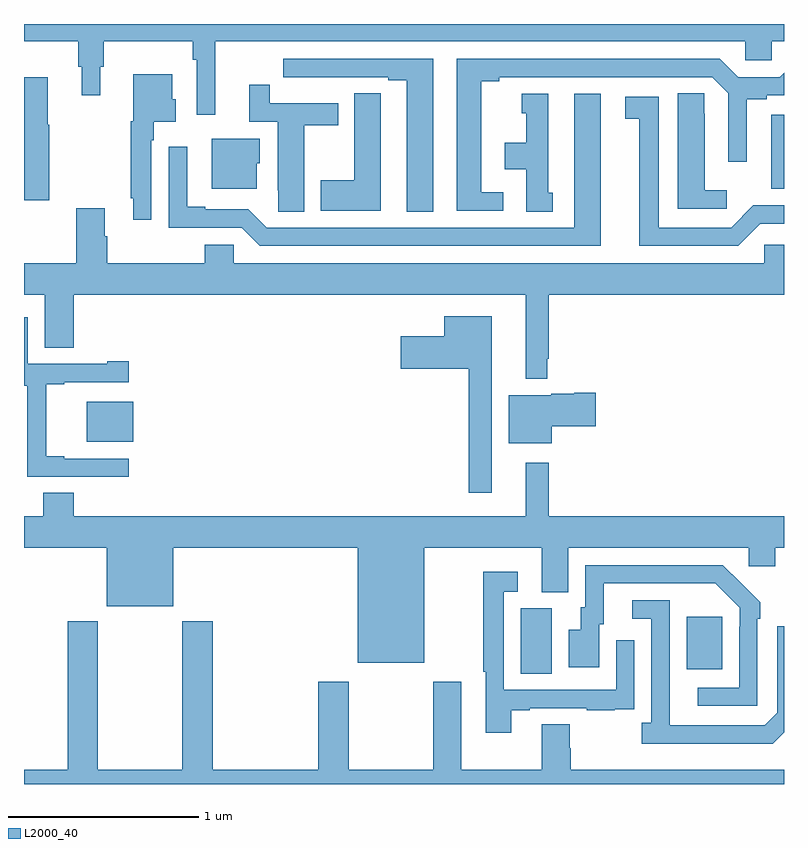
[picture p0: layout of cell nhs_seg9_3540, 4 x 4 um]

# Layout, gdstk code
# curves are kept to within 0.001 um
import gdstk
lib = gdstk.Library(unit=1e-6, precision=1e-09)
def R(c, l, rs):  # rectangles x0, y0, x1, y1
    for r in rs: c.add(gdstk.rectangle(r[:2], r[2:], *l))
def P(c, l, *ps):  # polygons
    for p in ps: c.add(gdstk.Polygon(p, *l))
L2000_40 = (2000, 40)

nhs_seg9_3540 = lib.new_cell('nhs_seg9_3540')
R(nhs_seg9_3540, L2000_40, [(315.614,1205.08,315.778,1205.424), (316.487,1205.105,316.675,1205.38), (313.331,1206.302,313.576,1206.511), (316.934,1207.634,317,1208.023)])
P(nhs_seg9_3540, L2000_40, [(314.006,1208.408),(316.797,1208.408),(316.797,1208.31),(316.935,1208.31),(316.935,1208.408),(317,1208.408),(317,1208.5),(313,1208.5),(313,1208.408),(313.285,1208.408),(313.285,1208.274),(313.304,1208.274),(313.304,1208.124),(313.402,1208.124),(313.402,1208.274),(313.421,1208.274),(313.421,1208.408),(313.888,1208.408),(313.888,1208.312),(313.908,1208.312),(313.908,1208.022),(314.006,1208.022)],
  [(315.523,1207.614),(315.406,1207.614),(315.406,1208.2),(315.502,1208.2),(315.502,1208.22),(316.623,1208.22),(316.707,1208.136),(316.707,1207.776),(316.804,1207.776),(316.804,1208.104),(316.908,1208.104),(316.908,1208.124),(317,1208.124),(317,1208.243),(316.977,1208.22),(316.759,1208.22),(316.663,1208.316),(315.278,1208.316),(315.278,1207.518),(315.523,1207.518)],
  [(315.154,1208.316),(314.364,1208.316),(314.364,1208.22),(314.476,1208.22),(314.476,1208.219),(314.642,1208.219),(314.642,1208.22),(314.918,1208.22),(314.918,1208.205),(315.014,1208.205),(315.014,1207.513),(315.154,1207.513)],
  [(313.671,1207.889),(313.684,1207.889),(313.684,1207.985),(313.798,1207.985),(313.798,1208.103),(313.78,1208.103),(313.78,1208.236),(313.574,1208.236),(313.574,1207.989),(313.563,1207.989),(313.563,1207.582),(313.574,1207.582),(313.574,1207.47),(313.671,1207.47)],
  [(313.134,1207.969),(313.126,1207.969),(313.126,1208.221),(313,1208.221),(313,1207.572),(313.134,1207.572)],
  [(314.476,1207.966),(314.653,1207.966),(314.653,1208.082),(314.294,1208.082),(314.294,1208.179),(314.186,1208.179),(314.186,1207.986),(314.336,1207.986),(314.336,1207.624),(314.337,1207.624),(314.337,1207.513),(314.476,1207.513)],
  [(316.699,1207.624),(316.582,1207.624),(316.582,1208.027),(316.581,1208.027),(316.581,1208.135),(316.442,1208.135),(316.442,1207.527),(316.699,1207.527)],
  [(314.878,1208.027),(314.877,1208.027),(314.877,1208.135),(314.738,1208.135),(314.738,1207.677),(314.561,1207.677),(314.561,1207.517),(314.878,1207.517)],
  [(316.036,1208.134),(315.896,1208.134),(315.896,1207.428),(314.277,1207.428),(314.181,1207.524),(313.954,1207.524),(313.954,1207.537),(313.858,1207.537),(313.858,1207.855),(313.761,1207.855),(313.761,1207.428),(314.145,1207.428),(314.241,1207.332),(316.036,1207.332)],
  [(315.784,1207.611),(315.76,1207.611),(315.76,1208.134),(315.62,1208.134),(315.62,1208.031),(315.644,1208.031),(315.644,1207.876),(315.53,1207.876),(315.53,1207.736),(315.644,1207.736),(315.644,1207.513),(315.784,1207.513)],
  [(316.875,1207.449),(317,1207.449),(317,1207.545),(316.839,1207.545),(316.722,1207.428),(316.342,1207.428),(316.342,1208.118),(316.164,1208.118),(316.164,1208.002),(316.238,1208.002),(316.238,1207.332),(316.758,1207.332)],
  [(314.224,1207.767),(314.242,1207.767),(314.242,1207.897),(313.988,1207.897),(313.988,1207.634),(314.224,1207.634)],
  [(315.755,1206.739),(315.763,1206.739),(315.763,1207.076),(317,1207.076),(317,1207.338),(316.896,1207.338),(316.896,1207.24),(314.103,1207.24),(314.103,1207.338),(313.952,1207.338),(313.952,1207.24),(313.439,1207.24),(313.439,1207.382),(313.426,1207.382),(313.426,1207.531),(313.274,1207.531),(313.274,1207.24),(313,1207.24),(313,1207.076),(313.109,1207.076),(313.109,1206.796),(313.262,1206.796),(313.262,1207.076),(315.641,1207.076),(315.641,1206.632),(315.755,1206.632)],
  [(315.463,1206.961),(315.212,1206.961),(315.212,1206.856),(314.982,1206.856),(314.982,1206.686),(315.342,1206.686),(315.342,1206.033),(315.463,1206.033)],
  [(313.552,1206.213),(313.213,1206.213),(313.213,1206.226),(313.118,1206.226),(313.118,1206.603),(313.213,1206.603),(313.213,1206.615),(313.552,1206.615),(313.552,1206.724),(313.439,1206.724),(313.439,1206.711),(313.02,1206.711),(313.02,1206.957),(313,1206.957),(313,1206.595),(313.018,1206.595),(313.018,1206.117),(313.552,1206.117)],
  [(315.778,1206.382),(316.009,1206.382),(316.009,1206.56),(315.896,1206.56),(315.896,1206.553),(315.774,1206.553),(315.774,1206.547),(315.551,1206.547),(315.551,1206.293),(315.778,1206.293)],
  [(315.106,1205.744),(315.725,1205.744),(315.725,1205.509),(315.865,1205.509),(315.865,1205.744),(316.815,1205.744),(316.815,1205.646),(316.954,1205.646),(316.954,1205.744),(317,1205.744),(317,1205.908),(315.763,1205.908),(315.763,1206.19),(315.641,1206.19),(315.641,1205.908),(313.262,1205.908),(313.262,1206.032),(313.102,1206.032),(313.102,1205.908),(313,1205.908),(313,1205.744),(313.436,1205.744),(313.436,1205.435),(313.786,1205.435),(313.786,1205.744),(314.756,1205.744),(314.756,1205.138),(315.106,1205.138)],
  [(316.86,1205.369),(316.875,1205.369),(316.875,1205.457),(316.678,1205.652),(315.954,1205.652),(315.954,1205.43),(315.929,1205.43),(315.929,1205.311),(315.866,1205.311),(315.866,1205.115),(316.027,1205.115),(316.027,1205.34),(316.051,1205.34),(316.051,1205.556),(316.639,1205.556),(316.767,1205.427),(316.767,1205.327),(316.764,1205.327),(316.764,1205.007),(316.545,1205.007),(316.545,1204.911),(316.86,1204.911)],
  [(315.565,1204.887),(315.661,1204.887),(315.661,1204.899),(315.961,1204.899),(315.961,1204.887),(316.109,1204.887),(316.109,1204.893),(316.211,1204.893),(316.211,1205.002),(316.212,1205.002),(316.212,1205.257),(316.116,1205.257),(316.116,1204.995),(315.525,1204.995),(315.525,1205.511),(315.598,1205.511),(315.598,1205.617),(315.417,1205.617),(315.417,1205.092),(315.429,1205.092),(315.429,1204.77),(315.565,1204.77)],
  [(317,1204.772),(317,1205.329),(316.965,1205.329),(316.965,1204.875),(316.899,1204.809),(316.399,1204.809),(316.398,1205.466),(316.2,1205.466),(316.2,1205.37),(316.302,1205.37),(316.302,1204.822),(316.251,1204.822),(316.251,1204.712),(316.94,1204.712)],
  [(317,1204.576),(315.878,1204.576),(315.878,1204.689),(315.873,1204.689),(315.873,1204.814),(315.725,1204.814),(315.725,1204.576),(315.301,1204.576),(315.301,1205.038),(315.154,1205.038),(315.154,1204.576),(314.709,1204.576),(314.709,1205.038),(314.549,1205.038),(314.549,1204.576),(313.994,1204.576),(313.994,1205.356),(313.834,1205.356),(313.834,1204.576),(313.389,1204.576),(313.389,1205.356),(313.229,1205.356),(313.229,1204.576),(313,1204.576),(313,1204.5),(317,1204.5)])

lib.write_gds('nhs_seg9_3540.gds')
